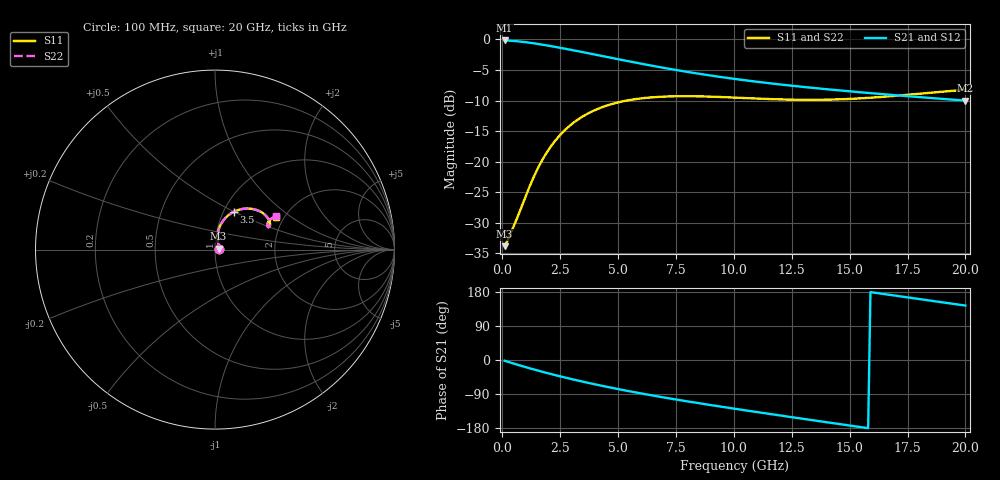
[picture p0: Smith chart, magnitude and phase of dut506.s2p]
! Touchstone file exported from HFSS 2024.1.0
!  File:  C:/UserFiles/LocalFiles/RDL_TSV_Batchsim/temp_RDL_TSV_506_1779738644.aedt
!  Generated:  04:06:01 AM May 26, 2026
!  Design:  RDL_TSV
!  Project:  temp_RDL_TSV_506_1779738644
!  Setup:  Setup1
!  Solution:  Sweep
! Variables:
!  dtsv = 12.99um
!  hbump = 3um
!  htsv = 55.69um
!  ldown = 186.91um
!  lrdl = 670.83um
!  p = 40
!  p1 = 53.28um
!  rhole = 10um
!  subl = 3244.05um
!  t = 450um
!  tdown = 3.93um
!  trdl = 3.26um
!  viad = 10um
!  wdown = 12.07um
!  wrdl = 18.76um
!  xbump = 18um
# GHz S MA R 50.000000
! Terminal data exported
! Port[1] = TM1_1_T1
! Port[2] = TM1_4_T1
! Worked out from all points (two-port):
!   200 points, 100 MHz to 20 GHz, reference 50 ohm
!   highest |S21| = -0.18 dB at 100 MHz (marker M1); lowest = -10.0 dB at 20 GHz (marker M2)
!   |S21| within 3 dB of the highest: start of sweep to 4.914 GHz
!   lowest |S11| = -33.8 dB at 100 MHz (marker M3), VSWR 1.04, Z = 52 + j0.506 ohm
!   |S11| at or under -10 dB: start of sweep to 5.391 GHz
!   |S22| runs from -33.8 to -8.2 dB; largest |S21 - S12| = 1.1e-13
!   S11 on the Smith chart (normalised r, x): 100 MHz: 1.04, +0.01; 3.5 GHz: 1.12, +0.50; 20 GHz: 1.82, +0.79
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0.1  0.02035 13.8  0.9798 -2.0  0.9798 -2.0  0.02035 13.8
! Gamma 0 0 0 0
! Port Impedance 50 0 50 0
0.5  0.02986 49.6  0.9704 -9.6  0.9704 -9.6  0.02986 49.6
0.9  0.04612 69.9  0.9538 -16.9  0.9538 -16.9  0.04611 69.9
1.4  0.078 79.7  0.9263 -25.6  0.9263 -25.6  0.07795 79.6
1.8  0.109 80.0  0.9009 -32.2  0.9009 -32.2  0.1089 80.0
2.2  0.1414 77.4  0.874 -38.6  0.874 -38.6  0.1413 77.4
2.6  0.1732 73.5  0.8464 -44.6  0.8464 -44.6  0.173 73.5
3  0.2028 69.1  0.8188 -50.5  0.8188 -50.5  0.2026 69.1
3.5  0.2358 63.4  0.7846 -57.5  0.7846 -57.5  0.2356 63.4
4.2  0.2736 55.9  0.7383 -66.8  0.7383 -66.8  0.2734 55.9
4.9  0.3017 49.1  0.6945 -75.5  0.6945 -75.5  0.3014 49.1
5.8  0.3255 41.7  0.643 -86.1  0.643 -86.1  0.3251 41.7
6.8  0.339 35.0  0.5927 -97.0  0.5927 -97.0  0.3386 35.0
7.6  0.3428 30.8  0.5576 -105.2  0.5576 -105.2  0.3424 30.8
8.4  0.3423 27.6  0.5267 -113.2  0.5267 -113.2  0.3418 27.6
10.1  0.3337 23.5  0.473 -129.2  0.473 -129.2  0.3332 23.5
11.7  0.3242 22.6  0.4341 -143.7  0.4341 -143.7  0.3238 22.7
13.4  0.3202 23.9  0.4012 -158.9  0.4012 -158.9  0.3199 24.0
15  0.3259 26.1  0.3758 -173.0  0.3758 -173.0  0.3256 26.2
16.7  0.3419 28.0  0.3528 172.2  0.3528 172.2  0.3418 28.1
18.4  0.3647 28.8  0.3327 157.4  0.3327 157.4  0.3647 28.9
20  0.3878 28.3  0.3158 143.6  0.3158 143.6  0.388 28.4
